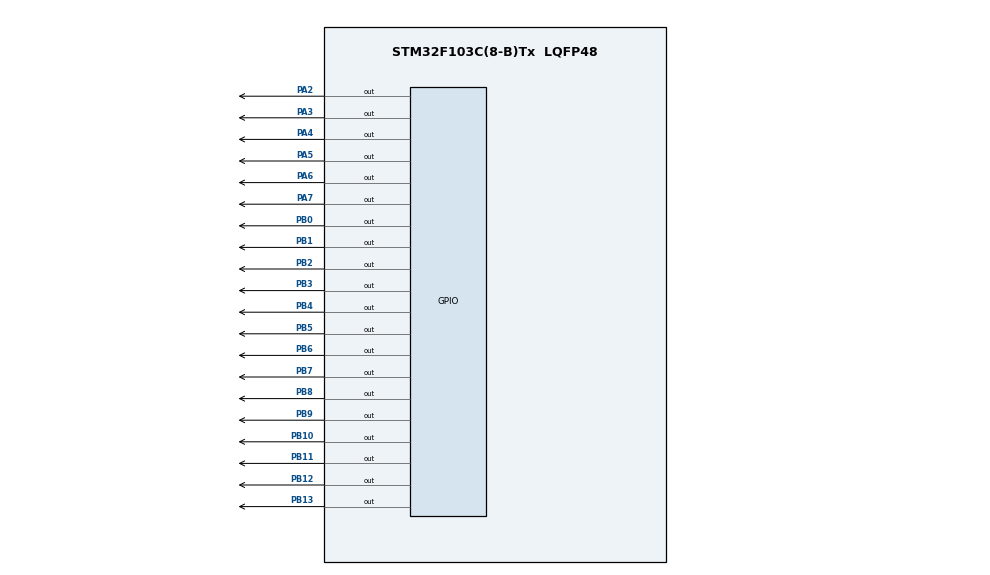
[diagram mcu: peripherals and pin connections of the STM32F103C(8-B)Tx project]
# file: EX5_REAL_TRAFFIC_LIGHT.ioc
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Mcu.Family=STM32F1
Mcu.Name=STM32F103C(8-B)Tx
Mcu.Package=LQFP48
NVIC.PriorityGroup=NVIC_PRIORITYGROUP_4
PA13.Mode=Serial_Wire
PA13.Signal=SYS_JTMS-SWDIO
PA14.Mode=Serial_Wire
PA14.Signal=SYS_JTCK-SWCLK
PA2.Signal=GPIO_Output
PA3.Signal=GPIO_Output
PA4.Signal=GPIO_Output
PA5.Signal=GPIO_Output
PA6.Signal=GPIO_Output
PA7.Signal=GPIO_Output
PB0.PinState=GPIO_PIN_SET
PB0.Signal=GPIO_Output
PB1.PinState=GPIO_PIN_SET
PB1.Signal=GPIO_Output
PB10.PinState=GPIO_PIN_SET
PB10.Signal=GPIO_Output
PB11.PinState=GPIO_PIN_SET
PB11.Signal=GPIO_Output
PB12.PinState=GPIO_PIN_SET
PB12.Signal=GPIO_Output
PB13.PinState=GPIO_PIN_SET
PB13.Signal=GPIO_Output
PB2.PinState=GPIO_PIN_SET
PB2.Signal=GPIO_Output
PB3.PinState=GPIO_PIN_SET
PB3.Signal=GPIO_Output
PB4.PinState=GPIO_PIN_SET
PB4.Signal=GPIO_Output
PB5.PinState=GPIO_PIN_SET
PB5.Signal=GPIO_Output
PB6.PinState=GPIO_PIN_SET
PB6.Signal=GPIO_Output
PB7.PinState=GPIO_PIN_SET
PB7.Signal=GPIO_Output
PB8.PinState=GPIO_PIN_SET
PB8.Signal=GPIO_Output
PB9.PinState=GPIO_PIN_SET
PB9.Signal=GPIO_Output
ProjectManager.HeapSize=0x200
ProjectManager.StackSize=0x400
ProjectManager.TargetToolchain=MDK-ARM V5.32
RCC.APB1Freq_Value=8000000
RCC.APB2Freq_Value=8000000
board=custom

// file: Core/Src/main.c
/* USER CODE BEGIN Header */
/**
  ******************************************************************************
  * @file           : main.c
  * @brief          : Main program body
  ******************************************************************************
  * @attention
  *
  * Copyright (c) 2026 STMicroelectronics.
  * All rights reserved.
  *
  * This software is licensed under terms that can be found in the LICENSE file
  * in the root directory of this software component.
  * If no LICENSE file comes with this software, it is provided AS-IS.
  *
  ******************************************************************************
  */
/* USER CODE END Header */
#include "main.h"

/* USER CODE BEGIN PD */
/* Traffic LEDs */
#define NS_RED       GPIO_PIN_2
#define NS_YELLOW    GPIO_PIN_3
#define NS_GREEN     GPIO_PIN_4

#define EW_RED       GPIO_PIN_5
#define EW_YELLOW    GPIO_PIN_6
#define EW_GREEN     GPIO_PIN_7

#define ALL_TRAFFIC_LEDS (NS_RED | NS_YELLOW | NS_GREEN | \
                          EW_RED | EW_YELLOW | EW_GREEN)

/* 7-segment */
#define LED_A GPIO_PIN_0
#define LED_B GPIO_PIN_1
#define LED_C GPIO_PIN_2
#define LED_D GPIO_PIN_3
#define LED_E GPIO_PIN_4
#define LED_F GPIO_PIN_5
#define LED_G GPIO_PIN_6

#define ALL_SEGMENTS (LED_A | LED_B | LED_C | LED_D | \
                      LED_E | LED_F | LED_G)

#define EW_LED_A GPIO_PIN_7
#define EW_LED_B GPIO_PIN_8
#define EW_LED_C GPIO_PIN_9
#define EW_LED_D GPIO_PIN_10
#define EW_LED_E GPIO_PIN_11
#define EW_LED_F GPIO_PIN_12
#define EW_LED_G GPIO_PIN_13

#define EW_ALL_SEGMENTS (EW_LED_A | EW_LED_B | EW_LED_C | \
                         EW_LED_D | EW_LED_E | EW_LED_F | \
                         EW_LED_G)
/* USER CODE END PD */

void SystemClock_Config(void);
static void MX_GPIO_Init(void);

/* USER CODE BEGIN 0 */
void display7SEG(int num)
{
    static const uint16_t digit[10] =
    {
        LED_A | LED_B | LED_C | LED_D | LED_E | LED_F,          // 0
        LED_B | LED_C,                                          // 1
        LED_A | LED_B | LED_D | LED_E | LED_G,                  // 2
        LED_A | LED_B | LED_C | LED_D | LED_G,                  // 3
        LED_B | LED_C | LED_F | LED_G,                          // 4
        LED_A | LED_C | LED_D | LED_F | LED_G,                  // 5
        LED_A | LED_C | LED_D | LED_E | LED_F | LED_G,          // 6
        LED_A | LED_B | LED_C,                                  // 7
        LED_A | LED_B | LED_C | LED_D | LED_E | LED_F | LED_G,  // 8
        LED_A | LED_B | LED_C | LED_D | LED_F | LED_G           // 9
    };

    HAL_GPIO_WritePin(GPIOB, ALL_SEGMENTS, GPIO_PIN_SET);		// TAT LED

    if (num >= 0 && num <= 9)
    {
        HAL_GPIO_WritePin(GPIOB, digit[num], GPIO_PIN_RESET);
    }
}

void display7SEG_EW(int num)
{
    static const uint16_t digit[10] =
    {
        EW_LED_A | EW_LED_B | EW_LED_C | EW_LED_D | EW_LED_E | EW_LED_F,
        EW_LED_B | EW_LED_C,
        EW_LED_A | EW_LED_B | EW_LED_D | EW_LED_E | EW_LED_G,
        EW_LED_A | EW_LED_B | EW_LED_C | EW_LED_D | EW_LED_G,
        EW_LED_B | EW_LED_C | EW_LED_F | EW_LED_G,
        EW_LED_A | EW_LED_C | EW_LED_D | EW_LED_F | EW_LED_G,
        EW_LED_A | EW_LED_C | EW_LED_D | EW_LED_E | EW_LED_F | EW_LED_G,
        EW_LED_A | EW_LED_B | EW_LED_C,
        EW_LED_A | EW_LED_B | EW_LED_C | EW_LED_D |
        EW_LED_E | EW_LED_F | EW_LED_G,
        EW_LED_A | EW_LED_B | EW_LED_C | EW_LED_D |
        EW_LED_F | EW_LED_G
    };

    HAL_GPIO_WritePin(GPIOB, EW_ALL_SEGMENTS, GPIO_PIN_SET);

    if (num >= 0 && num <= 9)
    {
        HAL_GPIO_WritePin(GPIOB, digit[num], GPIO_PIN_RESET);
    }
}

void TrafficLight_Init(uint16_t ns_led, uint16_t ew_led)
{
    HAL_GPIO_WritePin(
        GPIOA,
        ALL_TRAFFIC_LEDS,
        GPIO_PIN_RESET
    );

    HAL_GPIO_WritePin(
        GPIOA,
        ns_led | ew_led,
        GPIO_PIN_SET
    );
}

void CountDown(int ns_seconds, int ew_seconds, int duration)
{
    for (int i = 0; i < duration; i++)
    {
        display7SEG(ns_seconds - i);
        display7SEG_EW(ew_seconds - i);

        HAL_Delay(1000);
    }
}
/* USER CODE END 0 */

int main(void)
{

  /* MCU Configuration--------------------------------------------------------*/

  /* Reset of all peripherals, Initializes the Flash interface and the Systick. */
  HAL_Init();

  /* Configure the system clock */
  SystemClock_Config();

  /* Initialize all configured peripherals */
  MX_GPIO_Init();

  /* Infinite loop */
  while (1)
  {

    /* USER CODE BEGIN 3 */
		TrafficLight_Init(NS_GREEN, EW_RED);
    CountDown(3, 5, 3);

    TrafficLight_Init(NS_YELLOW, EW_RED);
    CountDown(2, 2, 2);

    TrafficLight_Init(NS_RED, EW_GREEN);
    CountDown(5, 3, 3);

    TrafficLight_Init(NS_RED, EW_YELLOW);
    CountDown(2, 2, 2);
  }
  /* USER CODE END 3 */
}

void SystemClock_Config(void)
{
  RCC_OscInitTypeDef RCC_OscInitStruct = {0};
  RCC_ClkInitTypeDef RCC_ClkInitStruct = {0};

  /** Initializes the RCC Oscillators according to the specified parameters
  * in the RCC_OscInitTypeDef structure.
  */
  RCC_OscInitStruct.OscillatorType = RCC_OSCILLATORTYPE_HSI;
  RCC_OscInitStruct.HSIState = RCC_HSI_ON;
  RCC_OscInitStruct.HSICalibrationValue = RCC_HSICALIBRATION_DEFAULT;
  RCC_OscInitStruct.PLL.PLLState = RCC_PLL_NONE;
  if (HAL_RCC_OscConfig(&RCC_OscInitStruct) != HAL_OK)
  {
    Error_Handler();
  }

  /** Initializes the CPU, AHB and APB buses clocks
  */
  RCC_ClkInitStruct.ClockType = RCC_CLOCKTYPE_HCLK|RCC_CLOCKTYPE_SYSCLK
                              |RCC_CLOCKTYPE_PCLK1|RCC_CLOCKTYPE_PCLK2;
  RCC_ClkInitStruct.SYSCLKSource = RCC_SYSCLKSOURCE_HSI;
  RCC_ClkInitStruct.AHBCLKDivider = RCC_SYSCLK_DIV1;
  RCC_ClkInitStruct.APB1CLKDivider = RCC_HCLK_DIV1;
  RCC_ClkInitStruct.APB2CLKDivider = RCC_HCLK_DIV1;

  if (HAL_RCC_ClockConfig(&RCC_ClkInitStruct, FLASH_LATENCY_0) != HAL_OK)
  {
    Error_Handler();
  }
}

static void MX_GPIO_Init(void)
{
  GPIO_InitTypeDef GPIO_InitStruct = {0};

  /* GPIO Ports Clock Enable */
  __HAL_RCC_GPIOA_CLK_ENABLE();
  __HAL_RCC_GPIOB_CLK_ENABLE();

  /*Configure GPIO pin Output Level */
  HAL_GPIO_WritePin(GPIOA, GPIO_PIN_2|GPIO_PIN_3|GPIO_PIN_4|GPIO_PIN_5
                          |GPIO_PIN_6|GPIO_PIN_7, GPIO_PIN_RESET);

  /*Configure GPIO pin Output Level */
  HAL_GPIO_WritePin(GPIOB, GPIO_PIN_0|GPIO_PIN_1|GPIO_PIN_2|GPIO_PIN_10
                          |GPIO_PIN_11|GPIO_PIN_12|GPIO_PIN_13|GPIO_PIN_3
                          |GPIO_PIN_4|GPIO_PIN_5|GPIO_PIN_6|GPIO_PIN_7
                          |GPIO_PIN_8|GPIO_PIN_9, GPIO_PIN_SET);

  /*Configure GPIO pins : PA2 PA3 PA4 PA5
                           PA6 PA7 */
  GPIO_InitStruct.Pin = GPIO_PIN_2|GPIO_PIN_3|GPIO_PIN_4|GPIO_PIN_5
                          |GPIO_PIN_6|GPIO_PIN_7;
  GPIO_InitStruct.Mode = GPIO_MODE_OUTPUT_PP;
  GPIO_InitStruct.Pull = GPIO_NOPULL;
  GPIO_InitStruct.Speed = GPIO_SPEED_FREQ_LOW;
  HAL_GPIO_Init(GPIOA, &GPIO_InitStruct);

  /*Configure GPIO pins : PB0 PB1 PB2 PB10
                           PB11 PB12 PB13 PB3
                           PB4 PB5 PB6 PB7
                           PB8 PB9 */
  GPIO_InitStruct.Pin = GPIO_PIN_0|GPIO_PIN_1|GPIO_PIN_2|GPIO_PIN_10
                          |GPIO_PIN_11|GPIO_PIN_12|GPIO_PIN_13|GPIO_PIN_3
                          |GPIO_PIN_4|GPIO_PIN_5|GPIO_PIN_6|GPIO_PIN_7
                          |GPIO_PIN_8|GPIO_PIN_9;
  GPIO_InitStruct.Mode = GPIO_MODE_OUTPUT_PP;
  GPIO_InitStruct.Pull = GPIO_NOPULL;
  GPIO_InitStruct.Speed = GPIO_SPEED_FREQ_LOW;
  HAL_GPIO_Init(GPIOB, &GPIO_InitStruct);

}

void Error_Handler(void)
{
  __disable_irq();
  while (1)
  {
  }
}
